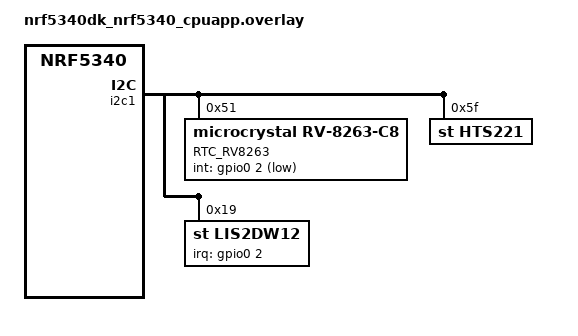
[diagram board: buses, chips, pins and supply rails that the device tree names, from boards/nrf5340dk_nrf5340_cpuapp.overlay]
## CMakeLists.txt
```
cmake_minimum_required(VERSION 3.20.0)
find_package(Zephyr REQUIRED HINTS $ENV{ZEPHYR_BASE})

set(SHIELD x_nucleo_iks01a3)


project(test_semaphore)

target_include_directories(app PRIVATE
  src
  src/capteurs
)
FILE(GLOB app_sources src/*.c
                      src/capteurs/*.c)
target_sources(app PRIVATE ${app_sources})
```

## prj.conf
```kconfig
# GPIO and logging
CONFIG_GPIO=y
CONFIG_PRINTK=y
CONFIG_LOG=y
CONFIG_STDOUT_CONSOLE=y

# System configuration
CONFIG_SYSTEM_WORKQUEUE_STACK_SIZE=4096
CONFIG_TIMESLICING=y
CONFIG_TIMESLICE_SIZE=10
CONFIG_TIMESLICE_PRIORITY=4

# I2C and sensors
CONFIG_I2C=y
CONFIG_I2C_NRFX=y
CONFIG_SENSOR=y




# Bluetooth configurations
CONFIG_BT=y
CONFIG_BT_HCI=y
CONFIG_BT_PERIPHERAL=y
CONFIG_BT_DIS=y
CONFIG_BT_PRIVACY=y
CONFIG_BT_DEVICE_NAME="Bluetooth Windaube"
CONFIG_BT_DEVICE_NAME_DYNAMIC=y
CONFIG_BT_DEVICE_NAME_MAX=65

CONFIG_NCS_SAMPLES_DEFAULTS=y

# Security and settings
CONFIG_BT_SMP=y
CONFIG_BT_SIGNING=y
CONFIG_BT_KEYS_OVERWRITE_OLDEST=y
CONFIG_BT_SETTINGS=y

# Flash and settings storage
CONFIG_FLASH=y
CONFIG_FLASH_MAP=y
CONFIG_NVS=y
CONFIG_SETTINGS=y
```

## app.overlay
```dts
/*
 * Copyright (c) 2024 STMicroelectronics
 *
 * SPDX-License-Identifier: Apache-2.0
 */

/*
 * Sensors declared here are possibly present on DIL24
 */
/*
&arduino_i2c {
	status = "okay";

	lis2de18_18_x_nucleo_iks01a3: lis2de12@18 {
		compatible = "st,lis2de12";
		reg = <0x18>;
		int1-gpios =  <&arduino_header 5 GPIO_ACTIVE_HIGH>; //A5 
	};

};
*/
/*/
&i2c1 {
    status = "okay";
    clock-frequency = <400000>;
    
    hts221: hts221@5f {
        compatible = "st,hts221";
        reg = <0x5f>;
        status = "okay";
    };

    lsm6dso: lsm6dso@6a {
        compatible = "st,lsm6dso";
        reg = <0x6a>;
        status = "okay";
    };
};
*/
```

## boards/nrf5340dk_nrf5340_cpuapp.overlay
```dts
&i2c1 {
    status = "okay";

    rv8263: rtc@51 {
        compatible = "microcrystal,rv-8263-c8";
        reg = <0x51>;
        label = "RTC_RV8263";
        clkout = <0>;  // ou <32768> si tu veux l'utiliser
        int-gpios = <&gpio0 2 GPIO_ACTIVE_LOW>; // << ajouté pour éviter les erreurs
    };
};

&i2c1 {
    status = "okay";

    hts221@5f {
        compatible = "st,hts221";
        reg = <0x5f>;
        label = "HTS221";
    };
};

&i2c1 {
    status = "okay";

    lis2dw12@19 {
        compatible = "st,lis2dw12";
        reg = <0x19>;
        label = "LIS2DW12";
        irq-gpios = <&gpio0 2 GPIO_ACTIVE_HIGH>; /* à adapter selon branchement */
    };
};
```

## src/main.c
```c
/*
 * Copyright (c) 2016 Intel Corporation
 *
 * SPDX-License-Identifier: Apache-2.0
 */

#include <zephyr/kernel.h>
#include <zephyr/device.h>
#include <zephyr/devicetree.h>
#include <zephyr/drivers/gpio.h>
#include <zephyr/drivers/sensor.h>
#include <zephyr/sys/printk.h>
#include <zephyr/sys/util.h>
#include <zephyr/bluetooth/bluetooth.h>
#include "capteurs/capteurs.h"

#define STACK_SIZE 2048

#define PRIORITY_task_ME 4
#define PRIORITY_task_ME_ecran 2
#define PRIORITY_task_set_Horodate 3
#define PRIORITY_task_update_capteur 1
#define PRIORITY_task_bluetooth 5

////////////////////////////////////////////////////////////////////////////////////
////						  Peripheral instantiation 							////
////////////////////////////////////////////////////////////////////////////////////

/* Definition des périphériques GPIO pour les LEDs */
#define LED0_NODE DT_ALIAS(led0)
#define LED1_NODE DT_ALIAS(led1)
#define LED2_NODE DT_ALIAS(led2)
#define LED3_NODE DT_ALIAS(led3)

static const struct gpio_dt_spec led_0 = GPIO_DT_SPEC_GET(LED0_NODE, gpios);
static const struct gpio_dt_spec led_1 = GPIO_DT_SPEC_GET(LED1_NODE, gpios);
static const struct gpio_dt_spec led_2 = GPIO_DT_SPEC_GET(LED2_NODE, gpios);
static const struct gpio_dt_spec led_3 = GPIO_DT_SPEC_GET(LED3_NODE, gpios);

/* Déclaration des capteurs */
const struct device *const hts221 = DEVICE_DT_GET_ANY(st_hts221);
const struct device *const lis2mdl = DEVICE_DT_GET_ANY(st_lis2mdl);
const struct device *const lis2dw12 = DEVICE_DT_GET_ANY(st_lis2dw12);
const struct device *const lsm6dso = DEVICE_DT_GET_ANY(st_lsm6dso);

/* Variables globales */
volatile int flag_transmition_bluetooth = 0;

/* Sémaphores */
struct k_sem semaphore_I2C;
struct k_sem semaphore_ecriture_lecture;
struct k_sem semaphore_task_set_Horodate;
struct k_sem semaphore_ME_ecran;
struct k_sem semaphore_update_capteur;
struct k_sem semaphore_bluetooth;

/* Stacks et threads */
K_THREAD_STACK_DEFINE(thread_stack_area_update_capteur, STACK_SIZE);
K_THREAD_STACK_DEFINE(thread_stack_area_bluetooth, STACK_SIZE);
static struct k_thread thread_task_update_capteur, thread_task_bluetooth;

////////////////////////////////////////////////////////////////////////////////////
////						   Fonction Bluetooth									////
////////////////////////////////////////////////////////////////////////////////////

void init_bluetooth(void)
{
    int err = bt_enable(NULL);
    if (err) {
        printk("Bluetooth init failed (err %d)\n", err);
        return;
    }
    printk("Bluetooth initialized\n");
}

////////////////////////////////////////////////////////////////////////////////////
////						   Tâches												////
////////////////////////////////////////////////////////////////////////////////////

/* Tâche pour mettre à jour les capteurs */
void task_update_capteur()
{
    while (1) {
        k_sem_take(&semaphore_update_capteur, K_FOREVER);

        k_sem_take(&semaphore_I2C, K_FOREVER);
        k_sem_take(&semaphore_ecriture_lecture, K_FOREVER);

        if (sensor_sample_fetch(hts221) == 0) {
            struct sensor_value temp, hum;
            sensor_channel_get(hts221, SENSOR_CHAN_AMBIENT_TEMP, &temp);
            sensor_channel_get(hts221, SENSOR_CHAN_HUMIDITY, &hum);

            printk("HTS221: Temperature: %.1f C, Humidity: %.1f%%\n",
                   sensor_value_to_double(&temp), sensor_value_to_double(&hum));
        } else {
            printk("Failed to fetch data from HTS221\n");
        }

        k_sem_give(&semaphore_I2C);
        k_sem_give(&semaphore_ecriture_lecture);

        k_yield();
    }
}

/* Tâche Bluetooth */
void task_bluetooth()
{
    init_bluetooth();

    while (1) {
        k_sem_take(&semaphore_bluetooth, K_FOREVER);

        if (flag_transmition_bluetooth == 1) {
            k_sem_take(&semaphore_ecriture_lecture, K_FOREVER);

            printk("Bluetooth transmission - Data sent\n");

            k_sem_give(&semaphore_ecriture_lecture);

            if (flag_transmition_bluetooth == 1) {
                k_sem_give(&semaphore_bluetooth);
            }

            k_yield();
        } else {
            printk("Bluetooth task yielding to scheduler.\n");
            k_yield();
        }
    }
}

////////////////////////////////////////////////////////////////////////////////////
////						   Fonction principale								////
////////////////////////////////////////////////////////////////////////////////////

int main(void)
{
    printk("Starting application\n");

    // Initialisation des LEDs
    if (!gpio_is_ready_dt(&led_0) || gpio_pin_configure_dt(&led_0, GPIO_OUTPUT_ACTIVE) < 0) {
        printk("Failed to initialize LED 0\n");
        return 0;
    }
    if (!gpio_is_ready_dt(&led_1) || gpio_pin_configure_dt(&led_1, GPIO_OUTPUT_ACTIVE) < 0) {
        printk("Failed to initialize LED 1\n");
        return 0;
    }
    if (!gpio_is_ready_dt(&led_2) || gpio_pin_configure_dt(&led_2, GPIO_OUTPUT_ACTIVE) < 0) {
        printk("Failed to initialize LED 2\n");
        return 0;
    }
    if (!gpio_is_ready_dt(&led_3) || gpio_pin_configure_dt(&led_3, GPIO_OUTPUT_ACTIVE) < 0) {
        printk("Failed to initialize LED 3\n");
        return 0;
    }

    // Vérification des capteurs
    if (!device_is_ready(hts221)) {
        printk("HTS221: device not ready. Check I2C connection or device tree configuration.\n");
        return 0;
    }
    if (!device_is_ready(lis2mdl)) {
        printk("%s: device not ready.\n", lis2mdl->name);
        return 0;
    }
    if (!device_is_ready(lis2dw12)) {
        printk("%s: device not ready.\n", lis2dw12->name);
        return 0;
    }
    if (!device_is_ready(lsm6dso)) {
        printk("LSM6DSO: device not ready. Check I2C connection or device tree configuration.\n");
        return 0;
    }

    // Configuration des capteurs
    lis2mdl_config(lis2mdl);
    lis2dw12_config(lis2dw12);
    lsm6dso_config(lsm6dso);

    // Initialisation des sémaphores
    k_sem_init(&semaphore_I2C, 1, 1);
    k_sem_init(&semaphore_ecriture_lecture, 1, 1);
    k_sem_init(&semaphore_task_set_Horodate, 1, 1);
    k_sem_init(&semaphore_ME_ecran, 0, 1);
    k_sem_init(&semaphore_update_capteur, 0, 1);
    k_sem_init(&semaphore_bluetooth, 0, 1);

    // Test des capteurs
    k_sem_give(&semaphore_update_capteur);

    // Création des tâches
    k_thread_create(&thread_task_update_capteur, thread_stack_area_update_capteur,
                    K_THREAD_STACK_SIZEOF(thread_stack_area_update_capteur),
                    task_update_capteur,
                    NULL, NULL, NULL,
                    PRIORITY_task_update_capteur, 0, K_NO_WAIT);

    k_thread_create(&thread_task_bluetooth, thread_stack_area_bluetooth,
                    K_THREAD_STACK_SIZEOF(thread_stack_area_bluetooth),
                    task_bluetooth,
                    NULL, NULL, NULL,
                    PRIORITY_task_bluetooth, 0, K_NO_WAIT);

    // Démarrage des tâches
    k_thread_start(&thread_task_update_capteur);
    k_thread_start(&thread_task_bluetooth);

    return 0;
}
```
